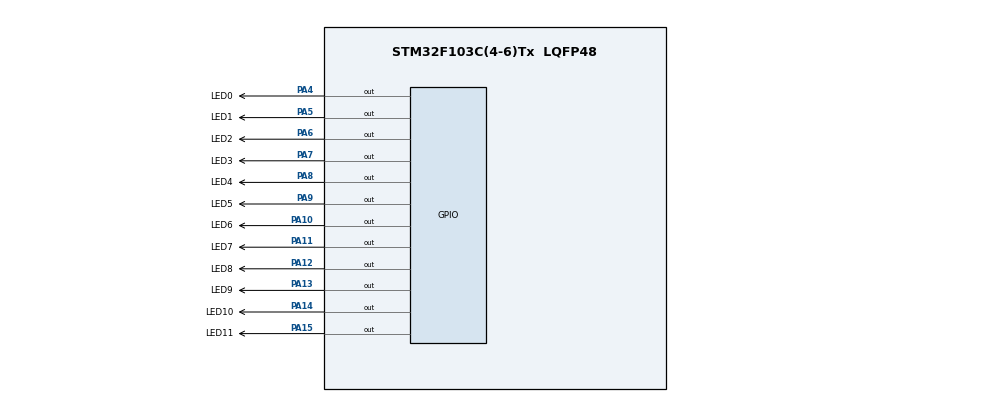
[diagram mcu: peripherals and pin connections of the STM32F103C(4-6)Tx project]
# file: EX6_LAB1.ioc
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Mcu.Family=STM32F1
Mcu.Name=STM32F103C(4-6)Tx
Mcu.Package=LQFP48
NVIC.PriorityGroup=NVIC_PRIORITYGROUP_4
PA10.GPIO_Label=LED6
PA10.PinState=GPIO_PIN_RESET
PA10.Signal=GPIO_Output
PA11.GPIO_Label=LED7
PA11.PinState=GPIO_PIN_RESET
PA11.Signal=GPIO_Output
PA12.GPIO_Label=LED8
PA12.PinState=GPIO_PIN_RESET
PA12.Signal=GPIO_Output
PA13.GPIO_Label=LED9
PA13.PinState=GPIO_PIN_RESET
PA13.Signal=GPIO_Output
PA14.GPIO_Label=LED10
PA14.PinState=GPIO_PIN_RESET
PA14.Signal=GPIO_Output
PA15.GPIO_Label=LED11
PA15.PinState=GPIO_PIN_RESET
PA15.Signal=GPIO_Output
PA4.GPIO_Label=LED0
PA4.PinState=GPIO_PIN_RESET
PA4.Signal=GPIO_Output
PA5.GPIO_Label=LED1
PA5.PinState=GPIO_PIN_RESET
PA5.Signal=GPIO_Output
PA6.GPIO_Label=LED2
PA6.PinState=GPIO_PIN_RESET
PA6.Signal=GPIO_Output
PA7.GPIO_Label=LED3
PA7.PinState=GPIO_PIN_RESET
PA7.Signal=GPIO_Output
PA8.GPIO_Label=LED4
PA8.PinState=GPIO_PIN_RESET
PA8.Signal=GPIO_Output
PA9.GPIO_Label=LED5
PA9.PinState=GPIO_PIN_RESET
PA9.Signal=GPIO_Output
ProjectManager.HeapSize=0x200
ProjectManager.StackSize=0x400
ProjectManager.TargetToolchain=STM32CubeIDE
RCC.APB1Freq_Value=8000000
RCC.APB2Freq_Value=8000000
VP_SYS_VS_ND.Mode=No_Debug
board=custom

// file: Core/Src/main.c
/* USER CODE BEGIN Header */
/**
  ******************************************************************************
  * @file           : main.c
  * @brief          : Main program body
  ******************************************************************************
  * @attention
  *
  * Copyright (c) 2025 STMicroelectronics.
  * All rights reserved.
  *
  * This software is licensed under terms that can be found in the LICENSE file
  * in the root directory of this software component.
  * If no LICENSE file comes with this software, it is provided AS-IS.
  *
  ******************************************************************************
  */
/* USER CODE END Header */
#include "main.h"

void SystemClock_Config(void);
static void MX_GPIO_Init(void);

/* USER CODE BEGIN 0 */
#define CLOCK_ALL_PINS 0xFFF0U

void clearAllClock(void)
{
    HAL_GPIO_WritePin(
        GPIOA,
        CLOCK_ALL_PINS,
        GPIO_PIN_RESET
    );
}

void clearNumberOnClock(uint8_t number)
{
    if (number > 11U) {
        return;
    }

    uint16_t pin =
        (uint16_t)(GPIO_PIN_4 << number);

    HAL_GPIO_WritePin(
        GPIOA,
        pin,
        GPIO_PIN_RESET
    );
}

void setNumberOnClock(uint8_t number)
{
    if (number > 11U) {
        return;
    }

    uint16_t pin =
        (uint16_t)(GPIO_PIN_4 << number);

    HAL_GPIO_WritePin(
        GPIOA,
        pin,
        GPIO_PIN_SET
    );
}

static void turnOnClockLed(uint8_t number)
{
    if (number > 11U) {
        return;
    }

    uint16_t pin = (uint16_t)(GPIO_PIN_4 << number);

    HAL_GPIO_WritePin(
        GPIOA,
        pin,
        GPIO_PIN_SET
    );
}

void ShowClock(
    uint8_t hour,
    uint8_t minute,
    uint8_t second
)
{
    clearAllClock();

    setNumberOnClock(hour % 12U);

    setNumberOnClock(minute / 5U);

    setNumberOnClock(second / 5U);
}

// LED GPIO lists (PA4 to PA15)
const uint16_t LED_Pins[12] = {
    GPIO_PIN_4, GPIO_PIN_5, GPIO_PIN_6, GPIO_PIN_7,
    GPIO_PIN_8, GPIO_PIN_9, GPIO_PIN_10, GPIO_PIN_11,
    GPIO_PIN_12, GPIO_PIN_13, GPIO_PIN_14, GPIO_PIN_15
};

static void LED_Test_Sequence(void)
{
    for (uint8_t number = 0U; number < 12U; ++number) {
        clearAllClock();
        turnOnClockLed(number);
        HAL_Delay(500);
    }

    clearAllClock();
}

/* USER CODE END 0 */

int main(void)
{

  /* MCU Configuration--------------------------------------------------------*/

  /* Reset of all peripherals, Initializes the Flash interface and the Systick. */
  HAL_Init();

  /* Configure the system clock */
  SystemClock_Config();

  /* Initialize all configured peripherals */
  MX_GPIO_Init();
  /* USER CODE BEGIN 2 */
  uint8_t hour = 10U;
  uint8_t minute = 58U;
  uint8_t second = 50U;
  /* USER CODE END 2 */

  /* Infinite loop */
  /* USER CODE BEGIN WHILE */
  while (1)
  {

	    ShowClock(hour, minute, second);

	    HAL_Delay(1000);

	    second++;

	    if (second >= 60U) {
	        second = 0U;
	        minute++;
	    }

	    if (minute >= 60U) {
	        minute = 0U;
	        hour++;
	    }

	    if (hour >= 24U) {
	        hour = 0U;
	    }

    /* USER CODE END WHILE */

  }
}
void SystemClock_Config(void)
{
  RCC_OscInitTypeDef RCC_OscInitStruct = {0};
  RCC_ClkInitTypeDef RCC_ClkInitStruct = {0};

  /** Initializes the RCC Oscillators according to the specified parameters
  * in the RCC_OscInitTypeDef structure.
  */
  RCC_OscInitStruct.OscillatorType = RCC_OSCILLATORTYPE_HSI;
  RCC_OscInitStruct.HSIState = RCC_HSI_ON;
  RCC_OscInitStruct.HSICalibrationValue = RCC_HSICALIBRATION_DEFAULT;
  RCC_OscInitStruct.PLL.PLLState = RCC_PLL_NONE;
  if (HAL_RCC_OscConfig(&RCC_OscInitStruct) != HAL_OK)
  {
    Error_Handler();
  }

  /** Initializes the CPU, AHB and APB buses clocks
  */
  RCC_ClkInitStruct.ClockType = RCC_CLOCKTYPE_HCLK|RCC_CLOCKTYPE_SYSCLK
                              |RCC_CLOCKTYPE_PCLK1|RCC_CLOCKTYPE_PCLK2;
  RCC_ClkInitStruct.SYSCLKSource = RCC_SYSCLKSOURCE_HSI;
  RCC_ClkInitStruct.AHBCLKDivider = RCC_SYSCLK_DIV1;
  RCC_ClkInitStruct.APB1CLKDivider = RCC_HCLK_DIV1;
  RCC_ClkInitStruct.APB2CLKDivider = RCC_HCLK_DIV1;

  if (HAL_RCC_ClockConfig(&RCC_ClkInitStruct, FLASH_LATENCY_0) != HAL_OK)
  {
    Error_Handler();
  }
}

static void MX_GPIO_Init(void)
{
  GPIO_InitTypeDef GPIO_InitStruct = {0};

  /* GPIO Ports Clock Enable */
  __HAL_RCC_GPIOA_CLK_ENABLE();

  /*Configure GPIO pin Output Level */
  HAL_GPIO_WritePin(GPIOA, LED1_Pin|LED2_Pin|LED3_Pin|LED4_Pin
                          |LED5_Pin|LED6_Pin|LED7_Pin|LED8_Pin
                          |LED9_Pin|LED10_Pin|LED11_Pin|LED12_Pin, GPIO_PIN_RESET);

  /*Configure GPIO pins : LED1_Pin LED2_Pin LED3_Pin LED4_Pin
                           LED5_Pin LED6_Pin LED7_Pin LED8_Pin
                           LED9_Pin LED10_Pin LED11_Pin LED12_Pin */
  GPIO_InitStruct.Pin = LED1_Pin|LED2_Pin|LED3_Pin|LED4_Pin
                          |LED5_Pin|LED6_Pin|LED7_Pin|LED8_Pin
                          |LED9_Pin|LED10_Pin|LED11_Pin|LED12_Pin;
  GPIO_InitStruct.Mode = GPIO_MODE_OUTPUT_PP;
  GPIO_InitStruct.Pull = GPIO_NOPULL;
  GPIO_InitStruct.Speed = GPIO_SPEED_FREQ_LOW;
  HAL_GPIO_Init(GPIOA, &GPIO_InitStruct);

}

void Error_Handler(void)
{
  __disable_irq();
  while (1)
  {
  }
}
